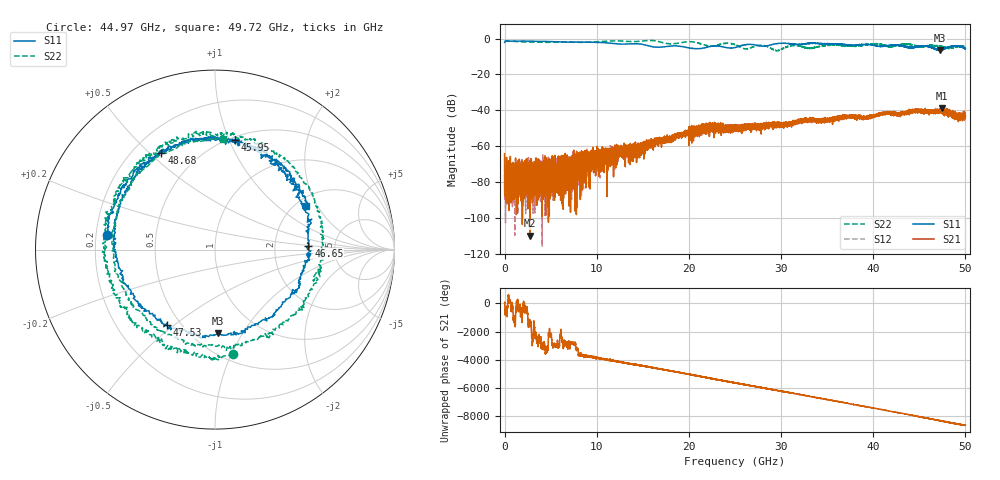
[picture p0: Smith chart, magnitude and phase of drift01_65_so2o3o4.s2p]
!Created with skrf (http://scikit-rf.org).
# Hz S RI R 50.0
!freq ReS11 ImS11 ReS21 ImS21 ReS12 ImS12 ReS22 ImS22
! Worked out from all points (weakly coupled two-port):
!   10001 points, 300 kHz to 50 GHz, reference 50 ohm
!   highest |S21| = -38.79 dB at 47.46 GHz (marker M1); lowest = -110.1 dB at 2.76 GHz (marker M2)
!   lowest |S11| = -6.6 dB at 47.28 GHz (marker M3), VSWR 2.75, Z = 33.2 - j39.5 ohm
!   |S11| at or under -10 dB: nowhere
!   |S22| runs from -6.8 to -1.0 dB; largest |S21 - S12| = 0.0038
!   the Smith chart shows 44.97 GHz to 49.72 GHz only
!   S11 on the Smith chart (normalised r, x): 44.97 GHz: 0.25, +0.06; 45.95 GHz: 0.53, +1.05; 46.65 GHz: 3.17, +0.17; 47.53 GHz: 0.42, -0.47; 48.68 GHz: 0.31, +0.55; 49.72 GHz: 2.26, +1.61
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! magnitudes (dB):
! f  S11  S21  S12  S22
! 300 kHz  -2.1  -64.3  -66.4  -1.3
! 255.3 MHz  -1.4  -69.8  -71.4  -1.4
! 2.76 GHz  -1.4  -110.1  -76.6  -2.0
! 6.325 GHz  -1.9  -73.5  -70.8  -1.9
! 8.335 GHz  -1.9  -72.9  -65.0  -2.1
! 16.67 GHz  -4.8  -58.4  -57.9  -1.6
! 21.82 GHz  -5.0  -50.8  -49.4  -3.7
! 25 GHz  -5.0  -51.6  -50.5  -3.4
! 28.08 GHz  -4.3  -48.1  -48.6  -3.8
! 29.55 GHz  -2.8  -48.8  -48.1  -6.7
! 31.29 GHz  -3.1  -45.7  -46.9  -4.0
! 33.34 GHz  -2.6  -45.2  -46.2  -5.5
! 41.67 GHz  -3.9  -41.3  -41.1  -4.4
! 44.97 GHz  -4.4  -40.9  -40.2  -4.6
! 45.95 GHz  -4.2  -40.5  -41.8  -4.2
! 46.65 GHz  -5.7  -40.8  -40.8  -3.9
! 47.28 GHz  -6.6  -40.8  -40.5  -4.1
! 47.46 GHz  -6.1  -38.8  -40.9  -4.6
! 47.53 GHz  -6.0  -41.8  -40.5  -4.6
! 48.68 GHz  -4.2  -43.8  -43.6  -5.1
! 49.72 GHz  -5.0  -43.9  -43.9  -4.2
! 50 GHz  -5.6  -43.4  -44.3  -4.2
